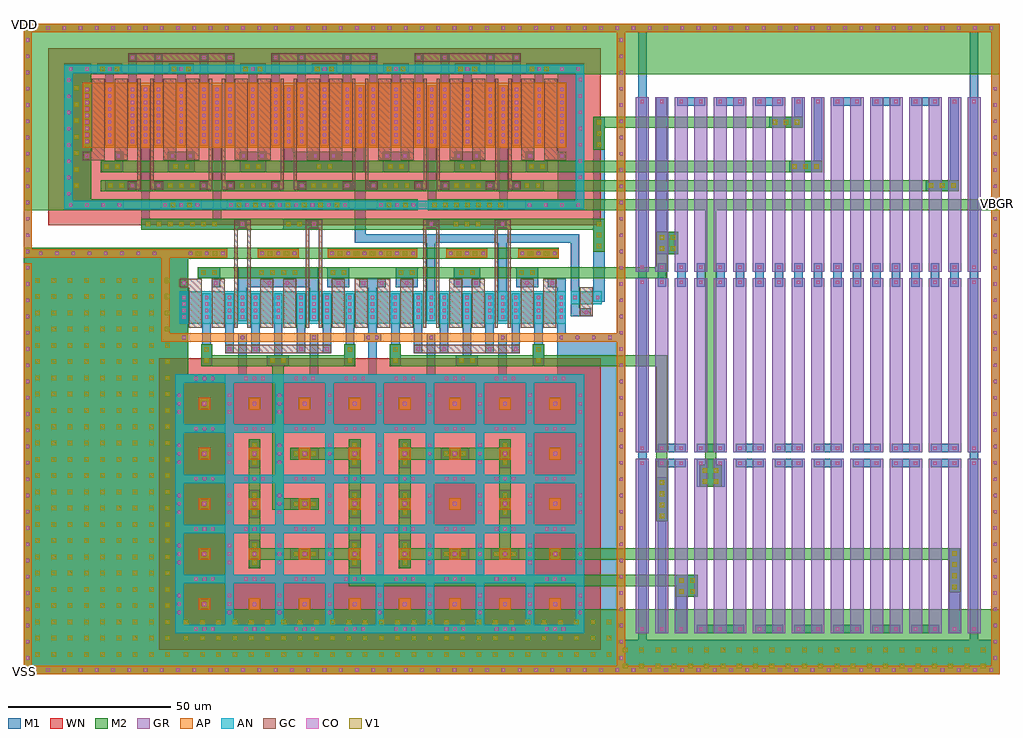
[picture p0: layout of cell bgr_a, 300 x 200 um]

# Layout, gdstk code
from math import pi, radians
import gdstk
lib = gdstk.Library(unit=1e-6, precision=1e-07)
def R(c, l, rs):  # rectangles x0, y0, x1, y1
    for r in rs: c.add(gdstk.rectangle(r[:2], r[2:], *l))
def A(c, l, x, y, w, h, nx, ny, dx, dy):  # array of equal rectangles
    R(c, l, [(x+i*dx, y+j*dy, x+i*dx+w, y+j*dy+h) for i in range(nx) for j in range(ny)])
def P(c, l, *ps):  # polygons
    for p in ps: c.add(gdstk.Polygon(p, *l))
AP = (3, 1)
AN = (3, 2)
GC = (8, 1)
GR = (8, 2)
CO = (11, 0)
M1 = (13, 0)
V1 = (19, 0)
M2 = (20, 0)
WN = (140, 0)

diode_p = lib.new_cell('diode_p')
R(diode_p, AP, [(-1.8,-1.8,1.8,1.8)])
R(diode_p, CO, [(-0.6,-0.6,0.6,0.6)])
R(diode_p, M1, [(-1.8,-1.8,1.8,1.8)])

cont_n = lib.new_cell('cont_n')
R(cont_n, AN, [(-1.3,-1.3,1.3,1.3)])
R(cont_n, CO, [(-0.5,-0.5,0.5,0.5)])
R(cont_n, M1, [(-1.3,-1.3,1.3,1.3)])

c_dp = lib.new_cell('dp')
P(c_dp, AN, [(-9,-9),(-9,-3.9),(-6.4,-3.9),(-6.4,-6.4),(-3.9,-6.4),(-3.9,-9)],
  [(3.9,-9),(3.9,-6.4),(6.4,-6.4),(6.4,-3.9),(9,-3.9),(9,-9)],
  [(-9,3.9),(-9,9),(-3.9,9),(-3.9,6.4),(-6.4,6.4),(-6.4,3.9)],
  [(6.4,3.9),(6.4,6.4),(3.9,6.4),(3.9,9),(9,9),(9,3.9)])
P(c_dp, M1, [(-9,-9),(-9,-3.9),(-6.4,-3.9),(-6.4,-6.4),(-3.9,-6.4),(-3.9,-9)],
  [(3.9,-9),(3.9,-6.4),(6.4,-6.4),(6.4,-3.9),(9,-3.9),(9,-9)],
  [(-9,3.9),(-9,9),(-3.9,9),(-3.9,6.4),(-6.4,6.4),(-6.4,3.9)],
  [(6.4,3.9),(6.4,6.4),(3.9,6.4),(3.9,9),(9,9),(9,3.9)])
R(c_dp, WN, [(-14,-14,14,14)])
c_dp.add(gdstk.Reference(diode_p, (0,0)))
r = gdstk.Reference(cont_n, (-7.7,-2.6)); r.repetition = gdstk.Repetition(1, 3, v1=(0,0), v2=(0,2.6)); c_dp.add(r)
r = gdstk.Reference(cont_n, (7.7,-2.6)); r.repetition = gdstk.Repetition(1, 3, v1=(0,0), v2=(0,2.6)); c_dp.add(r)
r = gdstk.Reference(cont_n, (-2.6,-7.7)); r.repetition = gdstk.Repetition(3, 1, v1=(2.6,0), v2=(0,0)); c_dp.add(r)
r = gdstk.Reference(cont_n, (-2.6,7.7)); r.repetition = gdstk.Repetition(3, 1, v1=(2.6,0), v2=(0,0)); c_dp.add(r)
c_dp.add(gdstk.Label('PLUS', (0,0), layer=48, texttype=0))
c_dp.add(gdstk.Label('MINUS', (0,-6.7), layer=48, texttype=0))

res_poly_1 = lib.new_cell('res_poly$1')
R(res_poly_1, GR, [(-26.8,-2,26.8,2)])
R(res_poly_1, CO, [(-26,-0.5,-25,0.5), (25,-0.5,26,0.5)])
R(res_poly_1, M1, [(-26.8,-1.3,-24.2,1.3), (24.2,-1.3,26.8,1.3)])

fet_n_2 = lib.new_cell('fet_n$2')
R(fet_n_2, AN, [(-3.3,-5,3.3,5)])
A(fet_n_2, CO, -2.5, -3.5, 1, 1, 1, 4, 0, 2)
A(fet_n_2, CO, 1.5, -3.5, 1, 1, 1, 4, 0, 2)
R(fet_n_2, M1, [(-3.3,-4.3,-0.7,4.3), (0.7,-4.3,3.3,4.3)])
fet_n_2.add(gdstk.FlexPath([(0,-6.2),(0,6.2)], 1, ends="flush", simple_path=True, layer=8, datatype=1))  # GC

fet_p_2 = lib.new_cell('fet_p$2')
R(fet_p_2, AP, [(-3.3,-10,3.3,10)])
A(fet_p_2, CO, -2.5, -8.5, 1, 1, 1, 9, 0, 2)
A(fet_p_2, CO, 1.5, -8.5, 1, 1, 1, 9, 0, 2)
R(fet_p_2, M1, [(-3.3,-9.3,-0.7,9.3), (0.7,-9.3,3.3,9.3)])
fet_p_2.add(gdstk.FlexPath([(0,-11.2),(0,11.2)], 1, ends="flush", simple_path=True, layer=8, datatype=1))  # GC

cont_p = lib.new_cell('cont_p')
R(cont_p, AP, [(-1.3,-1.3,1.3,1.3)])
R(cont_p, CO, [(-0.5,-0.5,0.5,0.5)])
R(cont_p, M1, [(-1.3,-1.3,1.3,1.3)])

via_1_1 = lib.new_cell('via_1$1')
R(via_1_1, M1, [(-1.7,-1.7,1.7,1.7)])
R(via_1_1, V1, [(-0.7,-0.7,0.7,0.7)])
R(via_1_1, M2, [(-1.7,-1.7,1.7,1.7)])

cont_g = lib.new_cell('cont_g')
R(cont_g, GC, [(-1.3,-1.3,1.3,1.3)])
R(cont_g, CO, [(-0.5,-0.5,0.5,0.5)])
R(cont_g, M1, [(-1.3,-1.3,1.3,1.3)])

fet_p = lib.new_cell('fet_p')
R(fet_p, AP, [(-4.8,-10,4.8,10)])
A(fet_p, CO, -4, -8.5, 1, 1, 1, 9, 0, 2)
A(fet_p, CO, 3, -8.5, 1, 1, 1, 9, 0, 2)
R(fet_p, M1, [(-4.8,-9.3,-2.2,9.3), (2.2,-9.3,4.8,9.3)])
fet_p.add(gdstk.FlexPath([(0,-11.2),(0,11.2)], 4, ends="flush", simple_path=True, layer=8, datatype=1))  # GC

cont_n_1 = lib.new_cell('cont_n$1')
R(cont_n_1, AN, [(-1.3,-1.3,1.3,1.3)])
R(cont_n_1, CO, [(-0.5,-0.5,0.5,0.5)])
R(cont_n_1, M1, [(-1.3,-1.3,1.3,1.3)])

fet_n = lib.new_cell('fet_n')
R(fet_n, AN, [(-4.8,-5,4.8,5)])
A(fet_n, CO, -4, -3.5, 1, 1, 1, 4, 0, 2)
A(fet_n, CO, 3, -3.5, 1, 1, 1, 4, 0, 2)
R(fet_n, M1, [(-4.8,-4.3,-2.2,4.3), (2.2,-4.3,4.8,4.3)])
fet_n.add(gdstk.FlexPath([(0,-6.2),(0,6.2)], 4, ends="flush", simple_path=True, layer=8, datatype=1))  # GC

fet_n_5 = lib.new_cell('fet_n$5')
R(fet_n_5, AN, [(-4.8,-2,4.8,2)])
R(fet_n_5, CO, [(-4,-0.5,-3,0.5), (3,-0.5,4,0.5)])
R(fet_n_5, M1, [(-4.8,-1.3,-2.2,1.3), (2.2,-1.3,4.8,1.3)])
fet_n_5.add(gdstk.FlexPath([(0,-3.2),(0,3.2)], 4, ends="flush", simple_path=True, layer=8, datatype=1))  # GC

bgr_a = lib.new_cell('bgr_a')
R(bgr_a, AP, [(72,128.1,84.6,130.7), (93.5,128.1,121.1,130.7), (130,128.1,142.6,130.7), (152,128.1,164.6,130.7)])
P(bgr_a, AP, [(0,0),(0,124.7),(2.6,124.7),(2.6,2.6),(182.4,2.6),(182.4,102.2),(42.4,102.2),(42.4,128.1),(0,128.1),(0,197.4),(2.6,197.4),(2.6,130.7),(62.6,130.7),(62.6,128.1),(45,128.1),(45,104.8),(182.4,104.8),(182.4,197.4),(185,197.4),(185,2.6),(297.4,2.6),(297.4,197.4),(0,197.4),(0,200),(300,200),(300,0)])
P(bgr_a, AN, [(12.6,143),(12.6,184.8),(15.2,184.8),(15.2,145.6),(169.8,145.6),(169.8,184.8),(12.6,184.8),(12.6,187.4),(172.4,187.4),(172.4,143)])
A(bgr_a, GC, 94.8, 119, 4, 2.6, 4, 1, 7, 0)
A(bgr_a, GC, 32.2, 188.3, 32.6, 2.6, 3, 1, 44, 0)
R(bgr_a, GC, [(62,98.7,94.6,101.3), (120,98.7,152.6,101.3), (171,110,175,112.6), (48,119,54.8,121.6), (57.8,119,61.8,121.6), (72.8,119,76.8,121.6), (79.8,119,83.8,121.6), (130.8,119,134.8,121.6), (137.8,119,141.8,121.6), (152.8,119,156.8,121.6), (159.8,119,163.8,121.6), (18.2,158,25,160.6), (28,158,32,160.6), (43,158,47,160.6), (50,158,54,160.6), (65,158,69,160.6), (72,158,76,160.6), (87,158,91,160.6), (94,158,98,160.6), (109,158,113,160.6), (116,158,120,160.6), (131,158,135,160.6), (138,158,142,160.6), (153,158,157,160.6), (160,158,166.8,160.6)])
P(bgr_a, GC, [(64.8,119),(64.8,139.7),(69.8,139.7),(69.8,119),(68.8,119),(68.8,137.1),(65.8,137.1),(65.8,119)],
  [(86.8,119),(86.8,139.7),(91.8,139.7),(91.8,119),(90.8,119),(90.8,137.1),(87.8,137.1),(87.8,119)],
  [(122.8,119),(122.8,139.7),(127.8,139.7),(127.8,119),(126.8,119),(126.8,137.1),(123.8,137.1),(123.8,119)],
  [(144.8,119),(144.8,139.7),(149.8,139.7),(149.8,119),(148.8,119),(148.8,137.1),(145.8,137.1),(145.8,119)],
  [(32.1,148.9),(32.1,151.5),(35,151.5),(35,160.6),(36,160.6),(36,148.9)],
  [(39,148.9),(39,160.6),(40,160.6),(40,151.5),(42.9,151.5),(42.9,148.9)],
  [(54.1,148.9),(54.1,151.5),(57,151.5),(57,160.6),(58,160.6),(58,148.9)],
  [(61,148.9),(61,160.6),(62,160.6),(62,151.5),(64.9,151.5),(64.9,148.9)],
  [(76.1,148.9),(76.1,151.5),(79,151.5),(79,160.6),(80,160.6),(80,148.9)],
  [(105,148.9),(105,160.6),(106,160.6),(106,151.5),(108.9,151.5),(108.9,148.9)],
  [(120.1,148.9),(120.1,151.5),(123,151.5),(123,160.6),(124,160.6),(124,148.9)],
  [(127,148.9),(127,160.6),(128,160.6),(128,151.5),(130.9,151.5),(130.9,148.9)],
  [(142.1,148.9),(142.1,151.5),(145,151.5),(145,160.6),(146,160.6),(146,148.9)],
  [(149,148.9),(149,160.6),(150,160.6),(150,151.5),(152.9,151.5),(152.9,148.9)],
  [(98.1,148.9),(98.1,151.5),(101,151.5),(101,160.6),(102,160.6),(102,148.9)],
  [(83,148.9),(83,160.6),(84,160.6),(84,151.5),(86.9,151.5),(86.9,148.9)])
A(bgr_a, M1, 227.5, 12.6, 3.4, 2.6, 5, 1, 12, 0)
A(bgr_a, M1, 69.2, 32.6, 3.6, 8.8, 1, 3, 0, 15.4)
A(bgr_a, M1, 100, 32.6, 3.6, 8.8, 1, 3, 0, 15.4)
A(bgr_a, M1, 115.4, 32.6, 3.6, 8.8, 1, 3, 0, 15.4)
A(bgr_a, M1, 82, 35.2, 8.8, 3.6, 1, 3, 0, 15.4)
A(bgr_a, M1, 221.5, 63.6, 3.4, 2.6, 6, 1, 12, 0)
A(bgr_a, M1, 197.5, 68.2, 3.4, 2.6, 8, 1, 12, 0)
A(bgr_a, M1, 55, 94.7, 2.6, 13.8, 3, 1, 22, 0)
A(bgr_a, M1, 113, 94.7, 2.6, 13.8, 3, 1, 22, 0)
A(bgr_a, M1, 194.9, 121.8, 2.6, 2, 16, 1, 6, 0)
A(bgr_a, M1, 203.5, 174.8, 3.4, 2.6, 3, 1, 12, 0)
A(bgr_a, M1, 251.5, 174.8, 3.4, 2.6, 3, 1, 12, 0)
A(bgr_a, M1, 25.2, 181.1, 2.6, 6.7, 6, 1, 22, 0)
R(bgr_a, M1, [(188.9,10.6,191.5,197.4), (290.9,10.6,293.5,197.4), (200.5,12.6,203.9,23.8), (209.5,12.6,218.9,15.2), (284.5,12.6,287.9,38.8), (194.9,15.2,197.5,60.6), (128.2,35.2,137,38.8), (143.6,35.2,152.4,38.8), (126.2,46,139,58.8), (146.2,48,149.8,56.8), (206.9,57.6,215.5,66.2), (146.2,63.4,149.8,72.2), (197.5,63.6,200.9,66.2), (128.2,66,137,69.6), (66,92.2,68.6,102.2), (88,92.2,90.6,102.2), (124,92.2,126.6,102.2), (146,92.2,148.6,102.2), (62,98.7,64.6,108.5), (70,98.7,72.6,108.5), (84,98.7,86.6,108.5), (92,98.7,94.6,108.5), (120,98.7,122.6,108.5), (128,98.7,130.6,108.5), (142,98.7,144.6,108.5), (150,98.7,152.6,108.5), (175.2,114.5,178.6,171.4), (57.8,119,60.4,125.2), (93.4,119,100.2,121.8), (114.4,119,121.2,121.8), (132.2,119,140.4,125.2), (151.4,119,158.2,121.8), (72,127.7,84.6,131.1), (93.5,127.7,121.1,131.1), (130,127.7,142.6,131.1), (152,127.7,164.6,131.1), (194.5,132.6,197.9,177.4), (79.8,136.7,90.6,140.1), (124,136.7,148.6,140.1), (42.2,142.6,54.8,146), (62.5,142.6,100.1,146), (108.6,142.6,121.2,146), (25.1,148.5,34.7,151.9), (40.3,148.5,56.7,151.9), (62.3,148.5,78.7,151.9), (128.3,148.5,144.7,151.9), (150.3,148.5,159.9,151.9), (284.9,148.5,287.5,174.8), (28,154.4,30.6,160.6), (44.4,154.4,52.6,160.6), (66.4,154.4,74.6,160.6), (110.4,154.4,118.6,160.6), (132.4,154.4,140.6,160.6), (154.4,154.4,157,160.6), (242.9,154.4,245.5,174.8), (236.9,168,239.5,174.8), (32.2,181.1,34.8,190.9), (40.2,181.1,42.8,190.9), (54.2,181.1,56.8,190.9), (62.2,181.1,64.8,190.9), (76.2,181.1,78.8,190.9), (84.2,181.1,86.8,190.9), (98.2,181.1,100.8,190.9), (106.2,181.1,108.8,190.9), (120.2,181.1,122.8,190.9), (128.2,181.1,130.8,190.9), (142.2,181.1,144.8,190.9), (150.2,181.1,152.8,190.9)])
P(bgr_a, M1, [(168.2,110),(168.2,132.6),(148.6,132.6),(148.6,117.1),(146,117.1),(146,132.6),(126.6,132.6),(126.6,117.1),(124,117.1),(124,132.6),(101.8,132.6),(101.8,148.5),(84.3,148.5),(84.3,151.9),(122.7,151.9),(122.7,148.5),(105.2,148.5),(105.2,135.2),(170.8,135.2),(170.8,112.6),(171.7,112.6),(171.7,110)],
  [(36.2,136.7),(36.2,162.5),(38.8,162.5),(38.8,140.1),(58.2,140.1),(58.2,162.5),(60.8,162.5),(60.8,140.1),(68.6,140.1),(68.6,136.7)],
  [(0,0),(0,76.8),(62,76.8),(62,28),(157,28),(157,76.8),(0,76.8),(0,197.4),(2.6,197.4),(2.6,131.1),(62.6,131.1),(62.6,127.7),(50.6,127.7),(50.6,92.2),(182.4,92.2),(182.4,10.6),(297.4,10.6),(297.4,197.4),(0,197.4),(0,200),(300,200),(300,0)],
  [(182.4,2.6),(182.4,92.2),(164,92.2),(164,119),(163.8,119),(163.8,121.6),(164,121.6),(166.6,121.6),(166.6,104.8),(182.4,104.8),(182.4,197.4),(185,197.4),(185,2.6)],
  [(12.6,142.6),(12.6,187.8),(20.8,187.8),(20.8,146),(30.8,146),(30.8,142.6)],
  [(154.2,142.6),(154.2,146),(164.2,146),(164.2,184.4),(159.8,184.4),(159.8,181.1),(157.2,181.1),(157.2,187.8),(172.4,187.8),(172.4,142.6)],
  [(124.2,142.6),(124.2,162.5),(126.8,162.5),(126.8,146),(146.2,146),(146.2,162.5),(148.8,162.5),(148.8,142.6)],
  [(80.2,154.4),(80.2,162.5),(82.8,162.5),(82.8,160.6),(102.2,160.6),(102.2,162.5),(104.8,162.5),(104.8,154.4)],
  [(106,92.2),(106,119),(105.8,119),(105.8,121.6),(108.8,121.6),(108.8,119),(108.6,119),(108.6,92.2)],
  [(66,117.1),(66,125.2),(90.6,125.2),(90.6,117.1),(88,117.1),(88,119),(68.6,119),(68.6,117.1)])
A(bgr_a, M2, 69.2, 32.6, 3.6, 8.8, 1, 3, 0, 15.4)
A(bgr_a, M2, 115.4, 32.6, 3.6, 8.8, 1, 3, 0, 15.4)
R(bgr_a, M2, [(100,48,103.6,56.8), (146.2,48,149.8,56.8), (100,63.4,103.6,72.2), (146.2,63.4,149.8,72.2), (58,94.7,98.6,98.1), (36.2,136.7,178.6,140.1), (23.8,148.5,287.5,151.9), (23.8,154.4,245.5,157.8), (175.2,168,239.5,171.4)])
P(bgr_a, M2, [(0,0),(0,131.1),(164.6,131.1),(164.6,127.7),(50.6,127.7),(50.6,92.2),(62,92.2),(62,20),(300,20),(300,0)],
  [(0,142.6),(0,200),(300,200),(300,184.4),(297.4,184.4),(297.4,197.4),(2.6,197.4),(2.6,142.6)],
  [(194.5,60.6),(194.5,94.7),(116,94.7),(116,98.1),(197.9,98.1),(197.9,60.6)],
  [(76.4,50.6),(76.4,94.7),(80,94.7),(80,54.2),(90.8,54.2),(90.8,50.6)],
  [(209.5,64.4),(209.5,142.6),(124.2,142.6),(124.2,146),(300,146),(300,142.6),(212.9,142.6),(212.9,64.4)],
  [(100,27),(100,35.2),(69.2,35.2),(69.2,72.2),(72.8,72.2),(72.8,38.8),(100,38.8),(100,66),(82,66),(82,69.6),(103.6,69.6),(103.6,30.6),(203.9,30.6),(203.9,27)],
  [(0,142.6),(0,200),(300,200),(300,184.4),(20.8,184.4),(20.8,146),(121.2,146),(121.2,142.6)],
  [(53.6,121.8),(53.6,125.2),(194.5,125.2),(194.5,132.6),(197.9,132.6),(197.9,121.8)],
  [(115.4,35.2),(115.4,66),(119,66),(119,38.8),(146.2,38.8),(146.2,66),(115.4,66),(115.4,72.2),(119,72.2),(119,69.6),(146.2,69.6),(146.2,72.2),(149.8,72.2),(149.8,38.8),(287.9,38.8),(287.9,35.2)])
R(bgr_a, WN, [(7.6,138,177.4,192.4)])
r = gdstk.Reference(c_dp, (55.6,21.6)); r.repetition = gdstk.Repetition(8, 5, v1=(15.4,0), v2=(0,15.4)); bgr_a.add(r)
r = gdstk.Reference(res_poly_1, (190.2,150.6), rotation=3*pi/2); r.repetition = gdstk.Repetition(3, 18, v1=(0,-55.6), v2=(6,0)); bgr_a.add(r)
bgr_a.add(gdstk.Reference(fet_n_2, (149.3,112.8)))
bgr_a.add(gdstk.Reference(fet_p_2, (149.5,171.8)))
r = gdstk.Reference(cont_p, (2.5,1.3)); r.repetition = gdstk.Repetition(60, 1, v1=(5,0), v2=(0,0)); bgr_a.add(r)
r = gdstk.Reference(cont_p, (2.5,198.7)); r.repetition = gdstk.Repetition(60, 1, v1=(5,0), v2=(0,0)); bgr_a.add(r)
r = gdstk.Reference(cont_p, (1.3,5)); r.repetition = gdstk.Repetition(1, 39, v1=(0,0), v2=(0,5)); bgr_a.add(r)
r = gdstk.Reference(cont_p, (298.7,5)); r.repetition = gdstk.Repetition(1, 36, v1=(0,0), v2=(0,5)); bgr_a.add(r)
r = gdstk.Reference(via_1_1, (4.3,6.1)); r.repetition = gdstk.Repetition(9, 24, v1=(5,0), v2=(0,5)); bgr_a.add(r)
r = gdstk.Reference(cont_p, (183.7,5)); r.repetition = gdstk.Repetition(1, 39, v1=(0,0), v2=(0,5)); bgr_a.add(r)
r = gdstk.Reference(via_1_1, (145.3,37)); r.repetition = gdstk.Repetition(2, 1, v1=(5.4,0), v2=(0,0)); bgr_a.add(r)
r = gdstk.Reference(via_1_1, (50,6.1)); r.repetition = gdstk.Repetition(27, 3, v1=(5,0), v2=(0,5)); bgr_a.add(r)
bgr_a.add(gdstk.Reference(cont_g, (71.3,100)))
bgr_a.add(gdstk.Reference(cont_g, (93.3,100)))
bgr_a.add(gdstk.Reference(cont_g, (85.3,100)))
bgr_a.add(gdstk.Reference(cont_g, (129.3,100)))
bgr_a.add(gdstk.Reference(cont_g, (63.3,100)))
r = gdstk.Reference(via_1_1, (100.3,96.4)); r.repetition = gdstk.Repetition(1, 2, v1=(0,0), v2=(0,3.4)); bgr_a.add(r)
r = gdstk.Reference(via_1_1, (114.3,96.4)); r.repetition = gdstk.Repetition(1, 2, v1=(0,0), v2=(0,3.4)); bgr_a.add(r)
r = gdstk.Reference(via_1_1, (56.3,96.4)); r.repetition = gdstk.Repetition(1, 2, v1=(0,0), v2=(0,3.4)); bgr_a.add(r)
r = gdstk.Reference(via_1_1, (158.3,96.4)); r.repetition = gdstk.Repetition(1, 2, v1=(0,0), v2=(0,3.4)); bgr_a.add(r)
bgr_a.add(gdstk.Reference(cont_g, (151.3,100)))
bgr_a.add(gdstk.Reference(cont_g, (143.3,100)))
bgr_a.add(gdstk.Reference(cont_g, (121.3,100)))
bgr_a.add(gdstk.Reference(fet_p, (155,171.8)))
r = gdstk.Reference(via_1_1, (196.2,130.9)); r.repetition = gdstk.Repetition(2, 2, v1=(3.4,0), v2=(0,3.4)); bgr_a.add(r)
r = gdstk.Reference(cont_n_1, (155.5,144.3)); r.repetition = gdstk.Repetition(4, 1, v1=(5,0), v2=(0,0)); bgr_a.add(r)
r = gdstk.Reference(via_1_1, (176.9,131.6)); r.repetition = gdstk.Repetition(1, 3, v1=(0,0), v2=(0,3.4)); bgr_a.add(r)
r = gdstk.Reference(via_1_1, (176.9,162.9)); r.repetition = gdstk.Repetition(1, 3, v1=(0,0), v2=(0,3.4)); bgr_a.add(r)
r = gdstk.Reference(via_1_1, (279,150.2)); r.repetition = gdstk.Repetition(3, 1, v1=(3.4,0), v2=(0,0)); bgr_a.add(r)
r = gdstk.Reference(cont_p, (165.3,103.5)); r.repetition = gdstk.Repetition(4, 1, v1=(5,0), v2=(0,0)); bgr_a.add(r)
bgr_a.add(gdstk.Reference(cont_g, (155.7,159.3)))
r = gdstk.Reference(via_1_1, (156.1,156.1)); r.repetition = gdstk.Repetition(2, 1, v1=(3.4,0), v2=(0,0)); bgr_a.add(r)
r = gdstk.Reference(cont_n_1, (171.1,152.8)); r.repetition = gdstk.Repetition(1, 7, v1=(0,0), v2=(0,5)); bgr_a.add(r)
r = gdstk.Reference(via_1_1, (231,169.7)); r.repetition = gdstk.Repetition(3, 1, v1=(3.4,0), v2=(0,0)); bgr_a.add(r)
bgr_a.add(gdstk.Reference(fet_n, (161.8,112.8)))
r = gdstk.Reference(via_1_1, (153.1,123.5)); r.repetition = gdstk.Repetition(2, 1, v1=(3.4,0), v2=(0,0)); bgr_a.add(r)
bgr_a.add(gdstk.Reference(cont_g, (151.5,189.6)))
bgr_a.add(gdstk.Reference(cont_g, (151.6,150.2)))
r = gdstk.Reference(via_1_1, (154.8,150.2)); r.repetition = gdstk.Repetition(2, 1, v1=(3.4,0), v2=(0,0)); bgr_a.add(r)
bgr_a.add(gdstk.Reference(cont_n_1, (158.5,186.1)))
r = gdstk.Reference(via_1_1, (156.3,186.1)); r.repetition = gdstk.Repetition(2, 1, v1=(4.4,0), v2=(0,0)); bgr_a.add(r)
r = gdstk.Reference(cont_n_1, (165.5,186.1)); r.repetition = gdstk.Repetition(2, 1, v1=(5,0), v2=(0,0)); bgr_a.add(r)
bgr_a.add(gdstk.Reference(cont_g, (154.8,120.3)))
bgr_a.add(gdstk.Reference(cont_g, (162.5,120.3)))
bgr_a.add(gdstk.Reference(cont_g, (165.5,159.3)))
bgr_a.add(gdstk.Reference(fet_n_5, (173,115.8)))
bgr_a.add(gdstk.Reference(fet_p, (162,171.8)))
r = gdstk.Reference(via_1_1, (237,156.1)); r.repetition = gdstk.Repetition(3, 1, v1=(3.4,0), v2=(0,0)); bgr_a.add(r)
bgr_a.add(gdstk.Reference(cont_g, (173,111.3)))
bgr_a.add(gdstk.Reference(fet_n, (154.8,112.8)))
r = gdstk.Reference(cont_p, (153.3,129.4)); r.repetition = gdstk.Repetition(3, 1, v1=(5,0), v2=(0,0)); bgr_a.add(r)
r = gdstk.Reference(via_1_1, (155.8,129.4)); r.repetition = gdstk.Repetition(2, 1, v1=(5,0), v2=(0,0)); bgr_a.add(r)
bgr_a.add(gdstk.Reference(cont_g, (33.4,150.2)))
bgr_a.add(gdstk.Reference(cont_g, (41.6,150.2)))
bgr_a.add(gdstk.Reference(cont_g, (55.4,150.2)))
r = gdstk.Reference(via_1_1, (16.3,150.2)); r.repetition = gdstk.Repetition(1, 7, v1=(0,0), v2=(0,5)); bgr_a.add(r)
bgr_a.add(gdstk.Reference(cont_g, (99.4,150.2)))
r = gdstk.Reference(via_1_1, (26.8,150.2)); r.repetition = gdstk.Repetition(2, 1, v1=(3.4,0), v2=(0,0)); bgr_a.add(r)
r = gdstk.Reference(via_1_1, (45.1,150.2)); r.repetition = gdstk.Repetition(3, 1, v1=(3.4,0), v2=(0,0)); bgr_a.add(r)
bgr_a.add(gdstk.Reference(cont_g, (63.6,150.2)))
bgr_a.add(gdstk.Reference(cont_g, (77.4,150.2)))
r = gdstk.Reference(via_1_1, (67.1,150.2)); r.repetition = gdstk.Repetition(3, 1, v1=(3.4,0), v2=(0,0)); bgr_a.add(r)
bgr_a.add(gdstk.Reference(cont_g, (107.6,150.2)))
bgr_a.add(gdstk.Reference(cont_g, (121.4,150.2)))
r = gdstk.Reference(via_1_1, (111.1,150.2)); r.repetition = gdstk.Repetition(3, 1, v1=(3.4,0), v2=(0,0)); bgr_a.add(r)
bgr_a.add(gdstk.Reference(cont_g, (129.6,150.2)))
bgr_a.add(gdstk.Reference(cont_g, (143.4,150.2)))
r = gdstk.Reference(via_1_1, (133.1,150.2)); r.repetition = gdstk.Repetition(3, 1, v1=(3.4,0), v2=(0,0)); bgr_a.add(r)
bgr_a.add(gdstk.Reference(cont_g, (75.5,120.3)))
bgr_a.add(gdstk.Reference(fet_n, (74.8,112.8)))
r = gdstk.Reference(via_1_1, (73.2,123.5)); r.repetition = gdstk.Repetition(4, 1, v1=(3.4,0), v2=(0,0)); bgr_a.add(r)
bgr_a.add(gdstk.Reference(fet_p, (74,171.8)))
bgr_a.add(gdstk.Reference(cont_g, (85.6,150.2)))
r = gdstk.Reference(cont_n_1, (13.9,147.7)); r.repetition = gdstk.Repetition(1, 8, v1=(0,0), v2=(0,5)); bgr_a.add(r)
r = gdstk.Reference(via_1_1, (89.1,150.2)); r.repetition = gdstk.Repetition(3, 1, v1=(3.4,0), v2=(0,0)); bgr_a.add(r)
r = gdstk.Reference(cont_p, (73.3,129.4)); r.repetition = gdstk.Repetition(3, 1, v1=(5,0), v2=(0,0)); bgr_a.add(r)
r = gdstk.Reference(via_1_1, (75.8,129.4)); r.repetition = gdstk.Repetition(2, 1, v1=(5,0), v2=(0,0)); bgr_a.add(r)
r = gdstk.Reference(via_1_1, (66.3,144.3)); r.repetition = gdstk.Repetition(7, 1, v1=(5,0), v2=(0,0)); bgr_a.add(r)
r = gdstk.Reference(cont_n_1, (63.8,144.3)); r.repetition = gdstk.Repetition(8, 1, v1=(5,0), v2=(0,0)); bgr_a.add(r)
bgr_a.add(gdstk.Reference(cont_g, (77.5,189.6)))
bgr_a.add(gdstk.Reference(fet_p, (89,171.8)))
bgr_a.add(gdstk.Reference(fet_p, (96,171.8)))
bgr_a.add(gdstk.Reference(fet_p_2, (101.5,171.8)))
bgr_a.add(gdstk.Reference(cont_g, (129.5,189.6)))
bgr_a.add(gdstk.Reference(cont_g, (143.5,189.6)))
bgr_a.add(gdstk.Reference(fet_p_2, (105.5,171.8)))
bgr_a.add(gdstk.Reference(fet_p, (111,171.8)))
bgr_a.add(gdstk.Reference(fet_p, (118,171.8)))
bgr_a.add(gdstk.Reference(fet_p_2, (123.5,171.8)))
bgr_a.add(gdstk.Reference(fet_p_2, (127.5,171.8)))
bgr_a.add(gdstk.Reference(fet_p, (133,171.8)))
bgr_a.add(gdstk.Reference(cont_g, (111.7,159.3)))
bgr_a.add(gdstk.Reference(fet_p, (140,171.8)))
bgr_a.add(gdstk.Reference(cont_g, (117.3,159.3)))
bgr_a.add(gdstk.Reference(fet_p_2, (145.5,171.8)))
bgr_a.add(gdstk.Reference(cont_g, (133.7,159.3)))
bgr_a.add(gdstk.Reference(cont_n_1, (92.5,186.1)))
r = gdstk.Reference(via_1_1, (90.3,186.1)); r.repetition = gdstk.Repetition(2, 1, v1=(4.4,0), v2=(0,0)); bgr_a.add(r)
bgr_a.add(gdstk.Reference(cont_n_1, (114.5,186.1)))
r = gdstk.Reference(via_1_1, (112.3,186.1)); r.repetition = gdstk.Repetition(2, 1, v1=(4.4,0), v2=(0,0)); bgr_a.add(r)
bgr_a.add(gdstk.Reference(cont_n_1, (136.5,186.1)))
r = gdstk.Reference(via_1_1, (134.3,186.1)); r.repetition = gdstk.Repetition(2, 1, v1=(4.4,0), v2=(0,0)); bgr_a.add(r)
bgr_a.add(gdstk.Reference(cont_g, (139.3,159.3)))
bgr_a.add(gdstk.Reference(fet_p_2, (79.5,171.8)))
r = gdstk.Reference(via_1_1, (90.8,156.1)); r.repetition = gdstk.Repetition(2, 1, v1=(3.4,0), v2=(0,0)); bgr_a.add(r)
bgr_a.add(gdstk.Reference(cont_g, (85.5,189.6)))
bgr_a.add(gdstk.Reference(cont_g, (99.5,189.6)))
bgr_a.add(gdstk.Reference(fet_p_2, (83.5,171.8)))
r = gdstk.Reference(via_1_1, (112.8,156.1)); r.repetition = gdstk.Repetition(2, 1, v1=(3.4,0), v2=(0,0)); bgr_a.add(r)
bgr_a.add(gdstk.Reference(cont_g, (89.7,159.3)))
r = gdstk.Reference(via_1_1, (134.8,156.1)); r.repetition = gdstk.Repetition(2, 1, v1=(3.4,0), v2=(0,0)); bgr_a.add(r)
bgr_a.add(gdstk.Reference(cont_g, (95.3,159.3)))
bgr_a.add(gdstk.Reference(cont_g, (107.5,189.6)))
bgr_a.add(gdstk.Reference(cont_g, (121.5,189.6)))
bgr_a.add(gdstk.Reference(cont_g, (67.7,159.3)))
bgr_a.add(gdstk.Reference(cont_n_1, (26.5,186.1)))
r = gdstk.Reference(via_1_1, (24.3,186.1)); r.repetition = gdstk.Repetition(2, 1, v1=(4.4,0), v2=(0,0)); bgr_a.add(r)
bgr_a.add(gdstk.Reference(cont_n_1, (48.5,186.1)))
r = gdstk.Reference(via_1_1, (46.3,186.1)); r.repetition = gdstk.Repetition(2, 1, v1=(4.4,0), v2=(0,0)); bgr_a.add(r)
bgr_a.add(gdstk.Reference(cont_n_1, (70.5,186.1)))
r = gdstk.Reference(via_1_1, (68.3,186.1)); r.repetition = gdstk.Repetition(2, 1, v1=(4.4,0), v2=(0,0)); bgr_a.add(r)
bgr_a.add(gdstk.Reference(cont_g, (45.7,159.3)))
bgr_a.add(gdstk.Reference(fet_p, (52,171.8)))
bgr_a.add(gdstk.Reference(cont_g, (29.3,159.3)))
bgr_a.add(gdstk.Reference(fet_p, (45,171.8)))
r = gdstk.Reference(via_1_1, (68.8,156.1)); r.repetition = gdstk.Repetition(2, 1, v1=(3.4,0), v2=(0,0)); bgr_a.add(r)
bgr_a.add(gdstk.Reference(cont_g, (19.5,159.3)))
r = gdstk.Reference(cont_n_1, (14.5,186.1)); r.repetition = gdstk.Repetition(2, 1, v1=(5,0), v2=(0,0)); bgr_a.add(r)
bgr_a.add(gdstk.Reference(cont_g, (51.3,159.3)))
bgr_a.add(gdstk.Reference(fet_p_2, (39.5,171.8)))
bgr_a.add(gdstk.Reference(cont_g, (41.5,189.6)))
r = gdstk.Reference(via_1_1, (25.5,156.1)); r.repetition = gdstk.Repetition(2, 1, v1=(3.4,0), v2=(0,0)); bgr_a.add(r)
r = gdstk.Reference(via_1_1, (46.8,156.1)); r.repetition = gdstk.Repetition(2, 1, v1=(3.4,0), v2=(0,0)); bgr_a.add(r)
bgr_a.add(gdstk.Reference(cont_g, (55.5,189.6)))
bgr_a.add(gdstk.Reference(fet_p_2, (35.5,171.8)))
bgr_a.add(gdstk.Reference(cont_g, (33.5,189.6)))
bgr_a.add(gdstk.Reference(cont_g, (73.3,159.3)))
bgr_a.add(gdstk.Reference(cont_g, (63.5,189.6)))
bgr_a.add(gdstk.Reference(fet_p, (67,171.8)))
bgr_a.add(gdstk.Reference(fet_p, (30,171.8)))
bgr_a.add(gdstk.Reference(fet_p, (23,171.8)))
bgr_a.add(gdstk.Reference(fet_p_2, (61.5,171.8)))
bgr_a.add(gdstk.Reference(fet_p_2, (57.5,171.8)))
bgr_a.add(gdstk.Reference(cont_g, (59.1,120.3)))
bgr_a.add(gdstk.Reference(cont_g, (49.3,120.3)))
r = gdstk.Reference(cont_n_1, (14.5,144.3)); r.repetition = gdstk.Repetition(4, 1, v1=(5,0), v2=(0,0)); bgr_a.add(r)
r = gdstk.Reference(via_1_1, (55.3,123.5)); r.repetition = gdstk.Repetition(2, 1, v1=(3.4,0), v2=(0,0)); bgr_a.add(r)
bgr_a.add(gdstk.Reference(fet_n, (52.8,112.8)))
bgr_a.add(gdstk.Reference(cont_p, (49.3,103.5)))
bgr_a.add(gdstk.Reference(fet_n_2, (65.3,112.8)))
bgr_a.add(gdstk.Reference(fet_n, (59.8,112.8)))
bgr_a.add(gdstk.Reference(cont_g, (67.3,138.4)))
r = gdstk.Reference(cont_p, (5.3,129.4)); r.repetition = gdstk.Repetition(8, 1, v1=(5,0), v2=(0,0)); bgr_a.add(r)
r = gdstk.Reference(via_1_1, (46,144.3)); r.repetition = gdstk.Repetition(2, 1, v1=(5,0), v2=(0,0)); bgr_a.add(r)
bgr_a.add(gdstk.Reference(cont_p, (67.3,103.5)))
r = gdstk.Reference(cont_p, (51.3,129.4)); r.repetition = gdstk.Repetition(3, 1, v1=(5,0), v2=(0,0)); bgr_a.add(r)
r = gdstk.Reference(via_1_1, (53.8,129.4)); r.repetition = gdstk.Repetition(2, 1, v1=(5,0), v2=(0,0)); bgr_a.add(r)
r = gdstk.Reference(cont_n_1, (43.5,144.3)); r.repetition = gdstk.Repetition(3, 1, v1=(5,0), v2=(0,0)); bgr_a.add(r)
r = gdstk.Reference(via_1_1, (38.3,138.4)); r.repetition = gdstk.Repetition(7, 1, v1=(3.4,0), v2=(0,0)); bgr_a.add(r)
bgr_a.add(gdstk.Reference(fet_n_2, (69.3,112.8)))
bgr_a.add(gdstk.Reference(fet_n_2, (127.3,112.8)))
bgr_a.add(gdstk.Reference(fet_n, (132.8,112.8)))
bgr_a.add(gdstk.Reference(cont_g, (89.3,138.4)))
bgr_a.add(gdstk.Reference(cont_g, (110.1,120.3)))
r = gdstk.Reference(via_1_1, (116.1,123.5)); r.repetition = gdstk.Repetition(2, 1, v1=(3.4,0), v2=(0,0)); bgr_a.add(r)
r = gdstk.Reference(via_1_1, (126.3,144.3)); r.repetition = gdstk.Repetition(7, 1, v1=(3.4,0), v2=(0,0)); bgr_a.add(r)
r = gdstk.Reference(cont_p, (106,103.5)); r.repetition = gdstk.Repetition(2, 1, v1=(2.6,0), v2=(0,0)); bgr_a.add(r)
bgr_a.add(gdstk.Reference(fet_n_2, (123.3,112.8)))
bgr_a.add(gdstk.Reference(fet_n, (103.8,112.8)))
bgr_a.add(gdstk.Reference(fet_n_2, (87.3,112.8)))
bgr_a.add(gdstk.Reference(cont_g, (81.1,120.3)))
r = gdstk.Reference(via_1_1, (81.5,138.4)); r.repetition = gdstk.Repetition(2, 1, v1=(3.4,0), v2=(0,0)); bgr_a.add(r)
r = gdstk.Reference(via_1_1, (134.6,123.5)); r.repetition = gdstk.Repetition(2, 1, v1=(3.4,0), v2=(0,0)); bgr_a.add(r)
r = gdstk.Reference(via_1_1, (132.9,138.4)); r.repetition = gdstk.Repetition(3, 1, v1=(3.4,0), v2=(0,0)); bgr_a.add(r)
r = gdstk.Reference(via_1_1, (95.1,123.5)); r.repetition = gdstk.Repetition(2, 1, v1=(3.4,0), v2=(0,0)); bgr_a.add(r)
bgr_a.add(gdstk.Reference(fet_n, (81.8,112.8)))
bgr_a.add(gdstk.Reference(cont_g, (96.8,120.3)))
bgr_a.add(gdstk.Reference(cont_g, (104.5,120.3)))
bgr_a.add(gdstk.Reference(fet_n_2, (145.3,112.8)))
bgr_a.add(gdstk.Reference(cont_g, (117.8,120.3)))
bgr_a.add(gdstk.Reference(fet_n, (139.8,112.8)))
bgr_a.add(gdstk.Reference(cont_g, (139.1,120.3)))
bgr_a.add(gdstk.Reference(fet_n, (110.8,112.8)))
bgr_a.add(gdstk.Reference(fet_n_2, (91.3,112.8)))
bgr_a.add(gdstk.Reference(cont_g, (133.5,120.3)))
bgr_a.add(gdstk.Reference(fet_n, (96.8,112.8)))
r = gdstk.Reference(cont_p, (94.8,129.4)); r.repetition = gdstk.Repetition(6, 1, v1=(5,0), v2=(0,0)); bgr_a.add(r)
r = gdstk.Reference(via_1_1, (97.3,129.4)); r.repetition = gdstk.Repetition(5, 1, v1=(5,0), v2=(0,0)); bgr_a.add(r)
bgr_a.add(gdstk.Reference(fet_n, (117.8,112.8)))
r = gdstk.Reference(cont_p, (131.3,129.4)); r.repetition = gdstk.Repetition(3, 1, v1=(5,0), v2=(0,0)); bgr_a.add(r)
r = gdstk.Reference(via_1_1, (133.8,129.4)); r.repetition = gdstk.Repetition(2, 1, v1=(5,0), v2=(0,0)); bgr_a.add(r)
bgr_a.add(gdstk.Reference(cont_g, (125.3,138.4)))
bgr_a.add(gdstk.Reference(cont_g, (147.3,138.4)))
bgr_a.add(gdstk.Reference(cont_p, (125.3,103.5)))
bgr_a.add(gdstk.Reference(cont_p, (89.3,103.5)))
bgr_a.add(gdstk.Reference(cont_p, (147.3,103.5)))
r = gdstk.Reference(via_1_1, (112.4,144.3)); r.repetition = gdstk.Repetition(2, 1, v1=(5,0), v2=(0,0)); bgr_a.add(r)
r = gdstk.Reference(cont_n_1, (109.9,144.3)); r.repetition = gdstk.Repetition(3, 1, v1=(5,0), v2=(0,0)); bgr_a.add(r)
r = gdstk.Reference(via_1_1, (134.6,96.4)); r.repetition = gdstk.Repetition(2, 1, v1=(3.4,0), v2=(0,0)); bgr_a.add(r)
r = gdstk.Reference(via_1_1, (71,34.3)); r.repetition = gdstk.Repetition(1, 2, v1=(0,0), v2=(0,5.4)); bgr_a.add(r)
r = gdstk.Reference(via_1_1, (83.7,67.8)); r.repetition = gdstk.Repetition(2, 1, v1=(5.4,0), v2=(0,0)); bgr_a.add(r)
r = gdstk.Reference(via_1_1, (117.2,65.1)); r.repetition = gdstk.Repetition(1, 2, v1=(0,0), v2=(0,5.4)); bgr_a.add(r)
r = gdstk.Reference(via_1_1, (83.7,52.4)); r.repetition = gdstk.Repetition(2, 1, v1=(5.4,0), v2=(0,0)); bgr_a.add(r)
r = gdstk.Reference(via_1_1, (117.2,34.3)); r.repetition = gdstk.Repetition(1, 2, v1=(0,0), v2=(0,5.4)); bgr_a.add(r)
r = gdstk.Reference(via_1_1, (117.2,49.7)); r.repetition = gdstk.Repetition(1, 2, v1=(0,0), v2=(0,5.4)); bgr_a.add(r)
r = gdstk.Reference(via_1_1, (83.7,37)); r.repetition = gdstk.Repetition(2, 1, v1=(5.4,0), v2=(0,0)); bgr_a.add(r)
r = gdstk.Reference(via_1_1, (148,49.7)); r.repetition = gdstk.Repetition(1, 2, v1=(0,0), v2=(0,5.4)); bgr_a.add(r)
r = gdstk.Reference(via_1_1, (148,65.1)); r.repetition = gdstk.Repetition(1, 2, v1=(0,0), v2=(0,5.4)); bgr_a.add(r)
r = gdstk.Reference(via_1_1, (129.9,67.8)); r.repetition = gdstk.Repetition(2, 1, v1=(5.4,0), v2=(0,0)); bgr_a.add(r)
r = gdstk.Reference(via_1_1, (129.9,37)); r.repetition = gdstk.Repetition(2, 1, v1=(5.4,0), v2=(0,0)); bgr_a.add(r)
r = gdstk.Reference(via_1_1, (71,49.7)); r.repetition = gdstk.Repetition(1, 2, v1=(0,0), v2=(0,5.4)); bgr_a.add(r)
r = gdstk.Reference(via_1_1, (71,65.1)); r.repetition = gdstk.Repetition(1, 2, v1=(0,0), v2=(0,5.4)); bgr_a.add(r)
r = gdstk.Reference(via_1_1, (101.8,34.3)); r.repetition = gdstk.Repetition(1, 2, v1=(0,0), v2=(0,5.4)); bgr_a.add(r)
r = gdstk.Reference(via_1_1, (101.8,49.7)); r.repetition = gdstk.Repetition(1, 2, v1=(0,0), v2=(0,5.4)); bgr_a.add(r)
r = gdstk.Reference(via_1_1, (101.8,65.1)); r.repetition = gdstk.Repetition(1, 2, v1=(0,0), v2=(0,5.4)); bgr_a.add(r)
r = gdstk.Reference(via_1_1, (76.5,96.4)); r.repetition = gdstk.Repetition(2, 1, v1=(3.4,0), v2=(0,0)); bgr_a.add(r)
r = gdstk.Reference(via_1_1, (286.2,26.9)); r.repetition = gdstk.Repetition(1, 4, v1=(0,0), v2=(0,3.4)); bgr_a.add(r)
r = gdstk.Reference(via_1_1, (196.2,48.7)); r.repetition = gdstk.Repetition(1, 4, v1=(0,0), v2=(0,3.4)); bgr_a.add(r)
r = gdstk.Reference(via_1_1, (209.5,59.3)); r.repetition = gdstk.Repetition(2, 2, v1=(3.4,0), v2=(0,3.4)); bgr_a.add(r)
r = gdstk.Reference(via_1_1, (185,2.5)); r.repetition = gdstk.Repetition(23, 2, v1=(5,0), v2=(0,5)); bgr_a.add(r)
r = gdstk.Reference(via_1_1, (202.2,25.5)); r.repetition = gdstk.Repetition(2, 2, v1=(3.4,0), v2=(0,3.4)); bgr_a.add(r)
bgr_a.add(gdstk.Label('VDD', (0.2,199.8), layer=49, texttype=0))
bgr_a.add(gdstk.Label('VBGR', (299.5,144.6), layer=49, texttype=0))
bgr_a.add(gdstk.Label('VSS', (0.2,0.8), layer=49, texttype=0))

lib.write_gds('bgr_a.gds')
